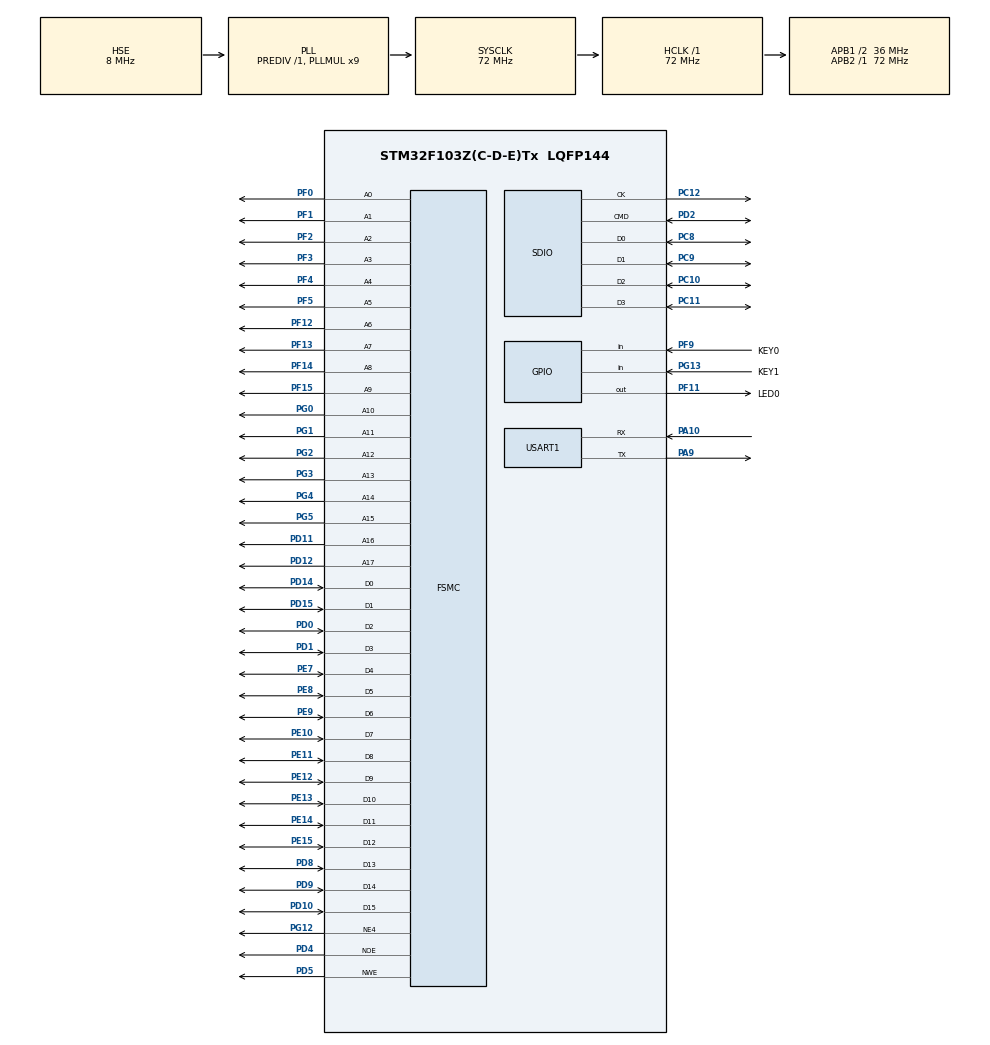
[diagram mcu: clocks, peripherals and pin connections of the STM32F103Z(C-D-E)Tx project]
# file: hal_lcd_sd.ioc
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Dma.Request0=SDIO
Dma.SDIO.0.Direction=DMA_PERIPH_TO_MEMORY
Dma.SDIO.0.Instance=DMA2_Channel4
Dma.SDIO.0.MemDataAlignment=DMA_MDATAALIGN_WORD
Dma.SDIO.0.MemInc=DMA_MINC_ENABLE
Dma.SDIO.0.Mode=DMA_NORMAL
Dma.SDIO.0.PeriphDataAlignment=DMA_PDATAALIGN_WORD
Dma.SDIO.0.PeriphInc=DMA_PINC_DISABLE
Dma.SDIO.0.Priority=DMA_PRIORITY_HIGH
FATFS._CODE_PAGE=936
FATFS._MAX_SS=512
FATFS._USE_LFN=2
FSMC.AddressSetupTime1=0
FSMC.BusTurnAroundDuration1=15
FSMC.DataSetupTime1=3
FSMC.WriteOperation1=FSMC_WRITE_OPERATION_ENABLE
Mcu.Family=STM32F1
Mcu.Name=STM32F103Z(C-D-E)Tx
Mcu.Package=LQFP144
NVIC.DMA2_Channel4_5_IRQn=true\:0\:0\:false\:false\:true\:false\:true
NVIC.PriorityGroup=NVIC_PRIORITYGROUP_4
NVIC.SDIO_IRQn=true\:0\:0\:false\:false\:true\:true\:true
OSC_IN.Mode=HSE-External-Oscillator
OSC_IN.Signal=RCC_OSC_IN
OSC_OUT.Mode=HSE-External-Oscillator
OSC_OUT.Signal=RCC_OSC_OUT
PA10.Mode=Asynchronous
PA10.Signal=USART1_RX
PA13.Mode=Serial_Wire
PA13.Signal=SYS_JTMS-SWDIO
PA14.Mode=Serial_Wire
PA14.Signal=SYS_JTCK-SWCLK
PA9.Mode=Asynchronous
PA9.Signal=USART1_TX
PC10.Mode=SD_4_bits_Wide_bus
PC10.Signal=SDIO_D2
PC11.Mode=SD_4_bits_Wide_bus
PC11.Signal=SDIO_D3
PC12.Mode=SD_4_bits_Wide_bus
PC12.Signal=SDIO_CK
PC14-OSC32_IN.Mode=LSE-External-Oscillator
PC14-OSC32_IN.Signal=RCC_OSC32_IN
PC15-OSC32_OUT.Mode=LSE-External-Oscillator
PC15-OSC32_OUT.Signal=RCC_OSC32_OUT
PC8.Mode=SD_4_bits_Wide_bus
PC8.Signal=SDIO_D0
PC9.Mode=SD_4_bits_Wide_bus
PC9.Signal=SDIO_D1
PD0.Signal=FSMC_D2_DA2
PD1.Signal=FSMC_D3_DA3
PD10.Signal=FSMC_D15_DA15
PD11.Signal=FSMC_A16_CLE
PD12.Signal=FSMC_A17_ALE
PD14.Signal=FSMC_D0_DA0
PD15.Signal=FSMC_D1_DA1
PD2.Mode=SD_4_bits_Wide_bus
PD2.Signal=SDIO_CMD
PD4.Signal=FSMC_NOE
PD5.Signal=FSMC_NWE
PD8.Signal=FSMC_D13_DA13
PD9.Signal=FSMC_D14_DA14
PE10.Signal=FSMC_D7_DA7
PE11.Signal=FSMC_D8_DA8
PE12.Signal=FSMC_D9_DA9
PE13.Signal=FSMC_D10_DA10
PE14.Signal=FSMC_D11_DA11
PE15.Signal=FSMC_D12_DA12
PE7.Signal=FSMC_D4_DA4
PE8.Signal=FSMC_D5_DA5
PE9.Signal=FSMC_D6_DA6
PF0.Signal=FSMC_A0
PF1.Signal=FSMC_A1
PF11.GPIO_Label=LED0
PF11.PinState=GPIO_PIN_SET
PF11.Signal=GPIO_Output
PF12.Signal=FSMC_A6
PF13.Signal=FSMC_A7
PF14.Signal=FSMC_A8
PF15.Signal=FSMC_A9
PF2.Signal=FSMC_A2
PF3.Signal=FSMC_A3
PF4.Signal=FSMC_A4
PF5.Signal=FSMC_A5
PF9.GPIO_Label=KEY0
PF9.GPIO_PuPd=GPIO_PULLUP
PF9.Signal=GPIO_Input
PG0.Signal=FSMC_A10
PG1.Signal=FSMC_A11
PG12.Mode=NorPsramChipSelect4_1
PG12.Signal=FSMC_NE4
PG13.GPIO_Label=KEY1
PG13.GPIO_PuPd=GPIO_PULLUP
PG13.Signal=GPIO_Input
PG2.Signal=FSMC_A12
PG3.Signal=FSMC_A13
PG4.Signal=FSMC_A14
PG5.Signal=FSMC_A15
ProjectManager.HeapSize=0x1000
ProjectManager.StackSize=0x1000
ProjectManager.TargetToolchain=MDK-ARM V5.27
RCC.AHBFreq_Value=72000000
RCC.APB1CLKDivider=RCC_HCLK_DIV2
RCC.APB1Freq_Value=36000000
RCC.APB1TimFreq_Value=72000000
RCC.APB2Freq_Value=72000000
RCC.APB2TimFreq_Value=72000000
RCC.HCLKFreq_Value=72000000
RCC.PLLMUL=RCC_PLL_MUL9
RCC.PLLSourceVirtual=RCC_PLLSOURCE_HSE
RCC.SYSCLKFreq_VALUE=72000000
RCC.SYSCLKSource=RCC_SYSCLKSOURCE_PLLCLK
RCC.USBFreq_Value=72000000
SDIO.ClockDiv=3
SH.FSMC_A0.0=FSMC_A0,18b-a1
SH.FSMC_A1.0=FSMC_A1,18b-a1
SH.FSMC_A10.0=FSMC_A10,18b-a1
SH.FSMC_A11.0=FSMC_A11,18b-a1
SH.FSMC_A12.0=FSMC_A12,18b-a1
SH.FSMC_A13.0=FSMC_A13,18b-a1
SH.FSMC_A14.0=FSMC_A14,18b-a1
SH.FSMC_A15.0=FSMC_A15,18b-a1
SH.FSMC_A16_CLE.0=FSMC_A16,18b-a1
SH.FSMC_A17_ALE.0=FSMC_A17,18b-a1
SH.FSMC_A2.0=FSMC_A2,18b-a1
SH.FSMC_A3.0=FSMC_A3,18b-a1
SH.FSMC_A4.0=FSMC_A4,18b-a1
SH.FSMC_A5.0=FSMC_A5,18b-a1
SH.FSMC_A6.0=FSMC_A6,18b-a1
SH.FSMC_A7.0=FSMC_A7,18b-a1
SH.FSMC_A8.0=FSMC_A8,18b-a1
SH.FSMC_A9.0=FSMC_A9,18b-a1
SH.FSMC_D0_DA0.0=FSMC_D0,16b-d1
SH.FSMC_D10_DA10.0=FSMC_D10,16b-d1
SH.FSMC_D11_DA11.0=FSMC_D11,16b-d1
SH.FSMC_D12_DA12.0=FSMC_D12,16b-d1
SH.FSMC_D13_DA13.0=FSMC_D13,16b-d1
SH.FSMC_D14_DA14.0=FSMC_D14,16b-d1
SH.FSMC_D15_DA15.0=FSMC_D15,16b-d1
SH.FSMC_D1_DA1.0=FSMC_D1,16b-d1
SH.FSMC_D2_DA2.0=FSMC_D2,16b-d1
SH.FSMC_D3_DA3.0=FSMC_D3,16b-d1
SH.FSMC_D4_DA4.0=FSMC_D4,16b-d1
SH.FSMC_D5_DA5.0=FSMC_D5,16b-d1
SH.FSMC_D6_DA6.0=FSMC_D6,16b-d1
SH.FSMC_D7_DA7.0=FSMC_D7,16b-d1
SH.FSMC_D8_DA8.0=FSMC_D8,16b-d1
SH.FSMC_D9_DA9.0=FSMC_D9,16b-d1
SH.FSMC_NOE.0=FSMC_NOE,Sram1
SH.FSMC_NWE.0=FSMC_NWE,Sram1
USART1.VirtualMode=VM_ASYNC
VP_FATFS_VS_SDIO.Mode=SDIO
board=custom

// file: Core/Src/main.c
/* USER CODE BEGIN Header */
/**
  ******************************************************************************
  * @file           : main.c
  * @brief          : Main program body
  ******************************************************************************
  * @attention
  *
  * <h2><center>&copy; Copyright (c) 2021 STMicroelectronics.
  * All rights reserved.</center></h2>
  *
  * This software component is licensed by ST under Ultimate Liberty license
  * SLA0044, the "License"; You may not use this file except in compliance with
  * the License. You may obtain a copy of the License at:
  *                             www.st.com/SLA0044
  *
  ******************************************************************************
  */
/* USER CODE END Header */
#include "main.h"
#include "dma.h"
#include "fatfs.h"
#include "sdio.h"
#include "usart.h"
#include "gpio.h"
#include "fsmc.h"

/* USER CODE BEGIN Includes */
#include "stdio.h"
#include "string.h"
#include "BSP_Graphics.h"
#include "BSP_TFTLCD.h"
#include "BSP_Led_Key.h"
/* USER CODE END Includes */

/* USER CODE BEGIN PTD */
const char  PIC_DIRECTORY[100] = "/pic/";
const char  PIC_DIRECTORY_COPY[6] = "/pic";
BYTE buffer[1600];
char  a[100];
char tempChar[100];
/* USER CODE END PTD */

/* USER CODE BEGIN PM */
/* 不精确延时函数 */
void DelayCount(uint32_t Count)
{
	while(Count--);
}

/**
	此函数作用是获取一个文件夹中文件的数量
	不进行递归查找  ！！！！！
	@parm  path 指定文件夹的字符串 比如 /pic 注意不要写成 /pic/ 这样不识别
*/
int getDirFileNum(const char *path)
{
	int file_num = 0;
	//char pathBuff[256]; //定义路径数组
	FRESULT res; //定义结果对象
	DIR dir; //定义目录对象
	//UINT i; //定义变量
	static FILINFO fno; //定义静态文件信息结构对象
	res = f_opendir(&dir,path); //打开目录，返回状态 和 目录对象的指针

	if(res == FR_OK) //打开成功
	{
		for(;;) //遍历
		{
			res = f_readdir(&dir, &fno); //读取目录，返回状态 和 文件信息的指针
			if(res != FR_OK || fno.fname[0] == 0)
 break; //若打开失败 或 到结尾，则退出
			if(fno.fattrib & AM_DIR) //是目录
			{
				//i = strlen(path); //获取原目录长度
				//sprintf(&path[i],"/%s",fno.fname); //将新目录添加在原目录后面
				//printf("是目录::%s",path);
				//res = scan_files(path); //将新目录进行递归调用
				//if(res != FR_OK) break; //打开失败则退出
				//path[i] = 0;
			}else
			{
				//printf("是文件:%s/%s",path,fno.fname); //是文件
				file_num++;
				//strcpy(pathBuff, fno.fname); //将文件目录存储起来
			}
		}
	}
	else
	{
		//printf("失败 - %s",&res); //打开失败
	}
	f_closedir(&dir); //关闭目录
	return file_num; //返回文件数量
}

/**
	此函数实现的是int类型向char*类型的转换 而且带有进制转换
	比如 数字10 转换为 十进制字符串  "10"
	@parm  int num 要转成字符串的数字
	@parm
*/
char *myitoa(int num,char *str,int radix)
{
	/* 索引表 */
		char temp;
	char index[]="0123456789ABCDEFGHIJKLMNOPQRSTUVWXYZ";
	unsigned unum; /* 中间变量 */
	int i=0,j,k;
	/* 确定unum的值 */
	if(radix==10&&num<0) /* 十进制负数 */
	{
		unum=(unsigned)-num;
		str[i++]='-';
	}
	else unum=(unsigned)num; /* 其他情况 */
	/* 逆序 */
	do
	{
		str[i++]=index[unum%(unsigned)radix];
		unum/=radix;
	}while(unum);
	str[i]='\0';
	/* 转换 */
	if(str[0]=='-') k=1; /* 十进制负数 */
	else k=0;
	/* 将原来的“/2”改为“/2.0”，保证当num在16~255之间，radix等于16时，也能得到正确结果 */

	for(j=k;j<=(i-k-1)/2.0;j++)
	{
		temp=str[j];
		str[j]=str[i-j-1];
		str[i-j-1]=temp;
	}
	return str;
}

/**
	此函数主要是画出一行的像素  注意这里的buf很特殊 类型是BYTE 占8bit
	但是buf中存储这颜色信息  所以需要两个BYTE拼接才能变成 u16(占16个bit)
	@parm BYTE *buf  buf的长度是你要画的图片宽度的2倍  buf中存储这每一个像素的颜色信息 16bit数据从低位到高位是 RGB 565 5+6+5 = 16
  @parm u16 width   画图的宽度
	@parm u16 line_num 要画哪一行
*/
void myDrawAPixelLine(BYTE *buf,u16 width,u16 line_num){

	u16 w;
	for(w = 0; w< width*2; w+=2)
	{
		u16 x;
		x = buf[w+1]<<8 | buf[w];
		//printf("%x ",x);
		RA8875_PutPixelGUI(w/2, line_num, x);
	}
}

/**
此函数功能是打开一个位图文件 将内容读取出来然后每个像素画在lcd上 如果读取出错 lcd显示红色
@parm filepath 要打开的文件路径
*/
void myLoadPicFromSDcard(char * filepath){
	int j = 0;
	FRESULT res;
	res = f_open(&SDFile, filepath, FA_OPEN_EXISTING | FA_READ);
	if (res)
	{
			u16 w,h;
			for(h=0;h<480;h++)
			{
				for(w = 0; w< 800; w++)
				{
					RA8875_PutPixelGUI(w, h, RED);
				}
			}

			printf("cannot read %s \n",filepath);
	}else{
		printf("read %s  success\n",filepath);
	}

	while(1){
		unsigned int br;
		res = f_read(&SDFile, buffer, sizeof(buffer), &br);
    if (res || br == 0) break;   // error or eof
		myDrawAPixelLine(buffer,800,j);
		j++;
	}
	f_close(&SDFile);
}

// 拼接一下路径和文件名称 这里的PIC_DIRECTORY 是需要在main.c最开始指定的  就是你存放图像的文件夹
// 比如你在根目录下的 pic/abc/efg 下存放了图片文件
// 需要填写  这里的PIC_DIRECTORY 为 /pic/abc/efg/     而PIC_DIRECTORY_COPY 为 /pic/abc/efg 一定要分清楚这两个
/**
		@parm  char * filename 图片名字

*/
char* myConcatPath(char * filename){
	strcpy(tempChar,PIC_DIRECTORY);
	strcat(tempChar,filename);
	return tempChar;
}
/* USER CODE END PM */

void SystemClock_Config(void);

/* USER CODE BEGIN 0 */
int fputc(int c, FILE *stream)
{
	HAL_UART_Transmit(&huart1, (unsigned char *)&c, 1, 1000);
	return 1;
}
/* USER CODE END 0 */

int main(void)
{
  /* USER CODE BEGIN 1 */
	int dirFileNum = 0;
	int i = 0;
  /* USER CODE END 1 */

  /* MCU Configuration--------------------------------------------------------*/

  /* Reset of all peripherals, Initializes the Flash interface and the Systick. */
  HAL_Init();

  /* Configure the system clock */
  SystemClock_Config();

  /* Initialize all configured peripherals */
  MX_GPIO_Init();
  MX_DMA_Init();
  MX_SDIO_SD_Init();
  MX_USART1_UART_Init();
  MX_FATFS_Init();
  MX_FSMC_Init();
  /* USER CODE BEGIN 2 */
	BSP_TFTLCD_Init();

	//LcdClear(YELLOW);

 	retSD = f_mount(&SDFatFS,SDPath,1);					//挂载SD卡
	if(retSD != FR_OK ){
		while(1){
				HAL_Delay(1000);
				printf("sdCard Error!!!");
		}
	}

	i = 0;
	//myLoadPicFromSDcard(myConcatPath("0.bin"));
	dirFileNum = getDirFileNum(PIC_DIRECTORY_COPY);
	//myLoadPicFromSDcard(fsrc,"/pic/0.bin");
	printf("dirFileNum = %d\n",dirFileNum);
  /* USER CODE END 2 */

  /* Infinite loop */
  while (1)
  {
		i = (i+1)%dirFileNum;
		myitoa(i,a,10);
		strcat(a,".bin");
		myLoadPicFromSDcard(myConcatPath(a));
		//HAL_Delay(3000);
		DelayMs(2000);

//		u8 key = Key_Scan(0);  // 检测按键
//		switch(key){
//			case 1:    // 如果是key0被按下 那么就切换为下一张图片
//				HAL_GPIO_TogglePin(LED0_GPIO_Port,LED0_Pin);
//				i = (i+1)%dirFileNum;
//				printf("%d\n",i);
//				myitoa(i,a,10);
//				strcat(a,".bin");
//				myLoadPicFromSDcard(myConcatPath(a));
//				break;
//			case 2:  // 如果是key1被按下 那么就切换为上一张图片
//				HAL_GPIO_TogglePin(LED0_GPIO_Port,LED0_Pin);
//				if(i<=0)
//					i = dirFileNum-1;
//				else
//					i = (i-1)%dirFileNum;
//				printf("%d\n",i);
//				myitoa(i,a,10);
//				strcat(a,".bin");
//				myLoadPicFromSDcard(myConcatPath(a));
//				break;
//		}
  }
}

void SystemClock_Config(void)
{
  RCC_OscInitTypeDef RCC_OscInitStruct = {0};
  RCC_ClkInitTypeDef RCC_ClkInitStruct = {0};

  /** Initializes the RCC Oscillators according to the specified parameters
  * in the RCC_OscInitTypeDef structure.
  */
  RCC_OscInitStruct.OscillatorType = RCC_OSCILLATORTYPE_HSE;
  RCC_OscInitStruct.HSEState = RCC_HSE_ON;
  RCC_OscInitStruct.HSEPredivValue = RCC_HSE_PREDIV_DIV1;
  RCC_OscInitStruct.HSIState = RCC_HSI_ON;
  RCC_OscInitStruct.PLL.PLLState = RCC_PLL_ON;
  RCC_OscInitStruct.PLL.PLLSource = RCC_PLLSOURCE_HSE;
  RCC_OscInitStruct.PLL.PLLMUL = RCC_PLL_MUL9;
  if (HAL_RCC_OscConfig(&RCC_OscInitStruct) != HAL_OK)
  {
    Error_Handler();
  }
  /** Initializes the CPU, AHB and APB buses clocks
  */
  RCC_ClkInitStruct.ClockType = RCC_CLOCKTYPE_HCLK|RCC_CLOCKTYPE_SYSCLK
                              |RCC_CLOCKTYPE_PCLK1|RCC_CLOCKTYPE_PCLK2;
  RCC_ClkInitStruct.SYSCLKSource = RCC_SYSCLKSOURCE_PLLCLK;
  RCC_ClkInitStruct.AHBCLKDivider = RCC_SYSCLK_DIV1;
  RCC_ClkInitStruct.APB1CLKDivider = RCC_HCLK_DIV2;
  RCC_ClkInitStruct.APB2CLKDivider = RCC_HCLK_DIV1;

  if (HAL_RCC_ClockConfig(&RCC_ClkInitStruct, FLASH_LATENCY_2) != HAL_OK)
  {
    Error_Handler();
  }
}

void Error_Handler(void)
{
  __disable_irq();
  while (1)
  {
  }
}

/************************ (C) COPYRIGHT STMicroelectronics *****END OF FILE****/
